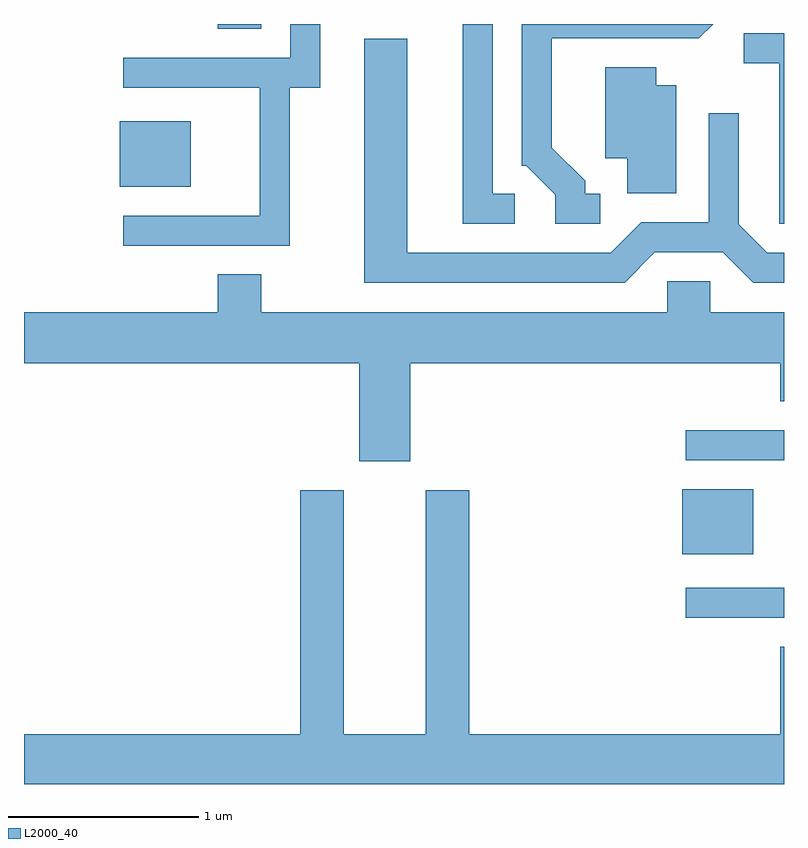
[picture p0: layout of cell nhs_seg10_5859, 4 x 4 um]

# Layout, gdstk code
import gdstk
lib = gdstk.Library(unit=1e-6, precision=1e-09)
def R(c, l, rs):  # rectangles x0, y0, x1, y1
    for r in rs: c.add(gdstk.rectangle(r[:2], r[2:], *l))
def P(c, l, *ps):  # polygons
    for p in ps: c.add(gdstk.Polygon(p, *l))
L2000_40 = (2000, 40)

nhs_seg10_5859 = lib.new_cell('nhs_seg10_5859')
R(nhs_seg10_5859, L2000_40, [(361.093,2181.396,361.611,2181.554), (361.076,2181.731,361.449,2182.074), (361.093,2182.226,361.611,2182.384), (358.116,2183.666,358.489,2184.009), (358.631,2184.496,358.859,2184.522)])
P(nhs_seg10_5859, L2000_40, [(360.193,2183.629),(360.079,2183.629),(360.079,2184.522),(359.921,2184.522),(359.921,2183.471),(360.193,2183.471)],
  [(359.009,2184.186),(359.169,2184.186),(359.169,2184.522),(359.011,2184.522),(359.011,2184.344),(358.133,2184.344),(358.133,2184.186),(358.851,2184.186),(358.851,2183.514),(358.133,2183.514),(358.133,2183.356),(359.009,2183.356)],
  [(360.643,2183.629),(360.564,2183.629),(360.564,2183.697),(360.389,2183.872),(360.389,2184.446),(361.162,2184.446),(361.238,2184.522),(360.231,2184.522),(360.231,2183.776),(360.254,2183.776),(360.406,2183.624),(360.406,2183.471),(360.643,2183.471)],
  [(361.611,2184.474),(361.398,2184.474),(361.398,2184.316),(361.586,2184.316),(361.586,2183.471),(361.611,2183.471)],
  [(360.932,2183.321),(361.289,2183.321),(361.449,2183.161),(361.611,2183.161),(361.611,2183.319),(361.522,2183.319),(361.374,2183.467),(361.374,2184.053),(361.216,2184.053),(361.216,2183.479),(360.859,2183.479),(360.699,2183.319),(359.629,2183.319),(359.629,2184.444),(359.401,2184.444),(359.401,2183.161),(360.772,2183.161)],
  [(361.044,2184.199),(360.939,2184.199),(360.939,2184.294),(360.671,2184.294),(360.671,2183.816),(360.786,2183.816),(360.786,2183.631),(361.044,2183.631)],
  [(359.644,2182.736),(361.591,2182.736),(361.591,2182.536),(361.611,2182.536),(361.611,2183.004),(361.224,2183.004),(361.224,2183.169),(360.996,2183.169),(360.996,2183.004),(358.859,2183.004),(358.859,2183.204),(358.631,2183.204),(358.631,2183.004),(357.611,2183.004),(357.611,2182.736),(359.376,2182.736),(359.376,2182.221),(359.644,2182.221)],
  [(361.611,2181.244),(361.591,2181.244),(361.591,2180.784),(359.954,2180.784),(359.954,2182.069),(359.726,2182.069),(359.726,2180.784),(359.294,2180.784),(359.294,2182.069),(359.066,2182.069),(359.066,2180.784),(357.611,2180.784),(357.611,2180.522),(361.611,2180.522)])

lib.write_gds('nhs_seg10_5859.gds')
